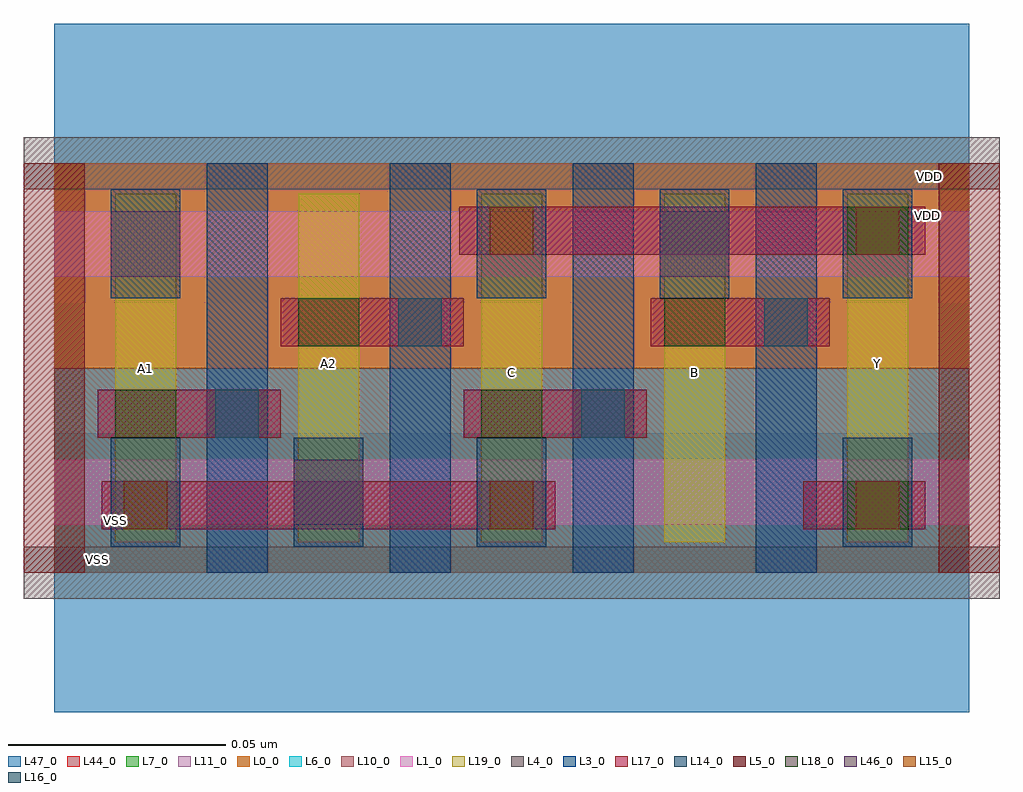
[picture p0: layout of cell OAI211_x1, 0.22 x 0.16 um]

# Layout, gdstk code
import gdstk
lib = gdstk.Library(unit=1e-6, precision=5e-10)
def R(c, l, rs):  # rectangles x0, y0, x1, y1
    for r in rs: c.add(gdstk.rectangle(r[:2], r[2:], *l))
def A(c, l, x, y, w, h, nx, ny, dx, dy):  # array of equal rectangles
    R(c, l, [(x+i*dx, y+j*dy, x+i*dx+w, y+j*dy+h) for i in range(nx) for j in range(ny)])
L0_0 = (0, 0)
L1_0 = (1, 0)
L3_0 = (3, 0)
L4_0 = (4, 0)
L5_0 = (5, 0)
L6_0 = (6, 0)
L7_0 = (7, 0)
L10_0 = (10, 0)
L11_0 = (11, 0)
L14_0 = (14, 0)
L15_0 = (15, 0)
L16_0 = (16, 0)
L17_0 = (17, 0)
L18_0 = (18, 0)
L19_0 = (19, 0)
L44_0 = (44, 0)
L46_0 = (46, 0)
L47_0 = (47, 0)

oai211_x1 = lib.new_cell('OAI211_x1')
R(oai211_x1, L0_0, [(0,0.047,0.21,0.094)])
R(oai211_x1, L1_0, [(0,0.011,0.21,0.026), (0,0.068,0.21,0.083)])
A(oai211_x1, L3_0, 0.035, 0, 0.014, 0.094, 4, 1, 0.042, 0)
R(oai211_x1, L4_0, [(-0.007,-0.006,0.217,0.006), (-0.007,0.088,0.217,0.1)])
R(oai211_x1, L5_0, [(-0.007,0,0.007,0.094), (0.203,0,0.217,0.094)])
R(oai211_x1, L6_0, [(0,0,0.21,0.047)])
R(oai211_x1, L7_0, [(0,0.047,0.21,0.094)])
R(oai211_x1, L10_0, [(0,0,0.21,0.047)])
R(oai211_x1, L11_0, [(0,0.047,0.21,0.094)])
A(oai211_x1, L14_0, 0.013, 0.006, 0.016, 0.025, 3, 1, 0.042, 0)
A(oai211_x1, L14_0, 0.097, 0.063, 0.016, 0.025, 3, 1, 0.042, 0)
R(oai211_x1, L14_0, [(0.181,0.006,0.197,0.031), (0.013,0.063,0.029,0.088)])
A(oai211_x1, L15_0, 0.016, 0.01, 0.01, 0.011, 3, 1, 0.084, 0)
R(oai211_x1, L15_0, [(0.1,0.073,0.11,0.084), (0.184,0.073,0.194,0.084)])
R(oai211_x1, L16_0, [(0.037,0.031,0.047,0.042), (0.121,0.031,0.131,0.042), (0.079,0.052,0.089,0.063), (0.163,0.052,0.173,0.063)])
R(oai211_x1, L17_0, [(0.011,0.01,0.115,0.021), (0.172,0.01,0.2,0.021), (0.01,0.031,0.052,0.042), (0.094,0.031,0.136,0.042), (0.052,0.052,0.094,0.063), (0.137,0.052,0.178,0.063), (0.093,0.073,0.2,0.084)])
R(oai211_x1, L18_0, [(0.182,0.01,0.196,0.021), (0.014,0.031,0.028,0.042), (0.098,0.031,0.112,0.042), (0.056,0.052,0.07,0.063), (0.14,0.052,0.154,0.063), (0.182,0.073,0.196,0.084)])
A(oai211_x1, L19_0, 0.014, 0.007, 0.014, 0.08, 5, 1, 0.042, 0)
R(oai211_x1, L44_0, [(0,0,0.21,0.094)])
R(oai211_x1, L46_0, [(0.055,0.011,0.071,0.026), (0.013,0.068,0.029,0.083), (0.139,0.068,0.155,0.083)])
R(oai211_x1, L47_0, [(0,-0.032,0.21,0.032), (0,0.062,0.21,0.126)])
oai211_x1.add(gdstk.Label('VSS', (0.01,0.003), layer=54, texttype=2))
oai211_x1.add(gdstk.Label('Y', (0.189,0.048), layer=19, texttype=2))
oai211_x1.add(gdstk.Label('A2', (0.063,0.048), layer=19, texttype=2))
oai211_x1.add(gdstk.Label('B', (0.147,0.046), layer=19, texttype=2))
oai211_x1.add(gdstk.Label('A1', (0.021,0.047), layer=19, texttype=2))
oai211_x1.add(gdstk.Label('C', (0.105,0.046), layer=19, texttype=2))
oai211_x1.add(gdstk.Label('VDD', (0.201,0.091), layer=0, texttype=2))
oai211_x1.add(gdstk.Label('VSS', (0.014,0.012), layer=47, texttype=2))
oai211_x1.add(gdstk.Label('VDD', (0.2005,0.082), layer=47, texttype=2))

lib.write_gds('OAI211_x1.gds')
